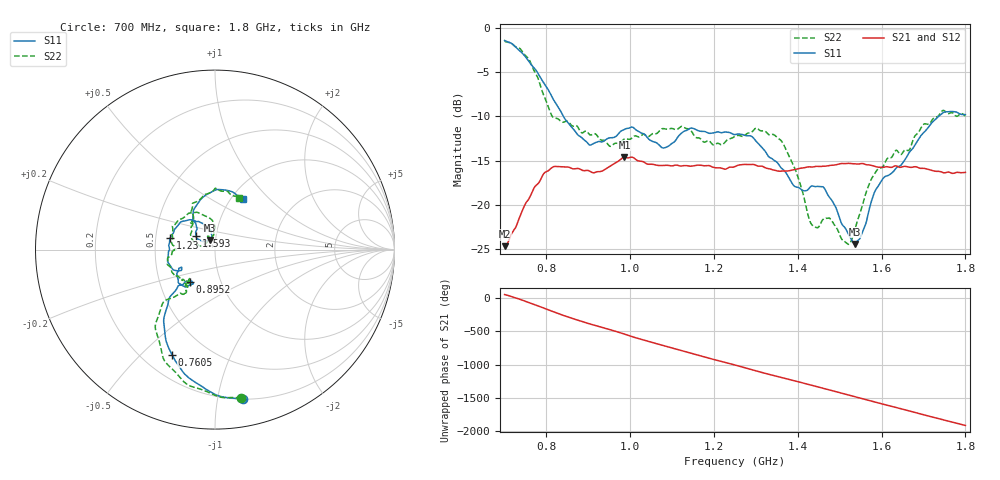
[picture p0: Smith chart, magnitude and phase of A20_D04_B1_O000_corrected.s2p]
! Created with skrf 1.9.0 (http://scikit-rf.org).
# Hz S RI R 50.0
!freq ReS11 ImS11 ReS21 ImS21 ReS12 ImS12 ReS22 ImS22
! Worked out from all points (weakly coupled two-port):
!   1601 points, 700 MHz to 1.8 GHz, reference 50 ohm
!   highest |S21| = -14.59 dB at 986 MHz (marker M1); lowest = -24.6 dB at 701.4 MHz (marker M2)
!   lowest |S11| = -24.4 dB at 1.536 GHz (marker M3), VSWR 1.13, Z = 47.1 + j5.08 ohm
!   |S11| at or under -10 dB: 840.4 MHz to 1.736 GHz (895.9 MHz wide, 69.5 % of centre)
!   |S22| runs from -24.4 to -1.5 dB; largest |S21 - S12| = 0.0034
!   S11 on the Smith chart (normalised r, x): 700 MHz: 0.20, -1.19; 760.5 MHz: 0.32, -0.62; 895.2 MHz: 0.71, -0.27; 1.23 GHz: 0.60, +0.08; 1.593 GHz: 0.80, +0.12; 1.8 GHz: 1.12, +0.71
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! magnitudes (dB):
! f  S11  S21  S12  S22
! 700 MHz  -1.4  -24.6  -24.4  -1.5
! 701.4 MHz  -1.5  -24.6  -24.3  -1.6
! 760.5 MHz  -4.0  -19.1  -19.0  -3.8
! 814.1 MHz  -7.9  -15.7  -15.8  -10.0
! 883.6 MHz  -12.4  -16.0  -15.9  -11.8
! 895.2 MHz  -12.9  -16.1  -16.2  -11.7
! 986 MHz  -11.5  -14.6  -14.7  -12.6
! 1.067 GHz  -13.1  -15.5  -15.5  -11.8
! 1.145 GHz  -11.3  -15.6  -15.6  -11.6
! 1.23 GHz  -11.8  -15.9  -15.8  -12.7
! 1.25 GHz  -12.1  -15.7  -15.6  -12.3
! 1.302 GHz  -12.9  -15.5  -15.5  -11.3
! 1.36 GHz  -15.8  -16.2  -16.2  -12.7
! 1.394 GHz  -17.9  -16.0  -16.0  -16.0
! 1.434 GHz  -17.8  -15.7  -15.7  -22.2
! 1.476 GHz  -19.1  -15.5  -15.6  -21.5
! 1.52 GHz  -23.2  -15.3  -15.3  -24.4
! 1.536 GHz  -24.4  -15.3  -15.3  -22.8
! 1.593 GHz  -17.8  -15.7  -15.7  -15.9
! 1.617 GHz  -16.6  -15.7  -15.7  -14.7
! 1.743 GHz  -9.7  -16.3  -16.2  -9.5
! 1.8 GHz  -9.8  -16.3  -16.3  -10.0
